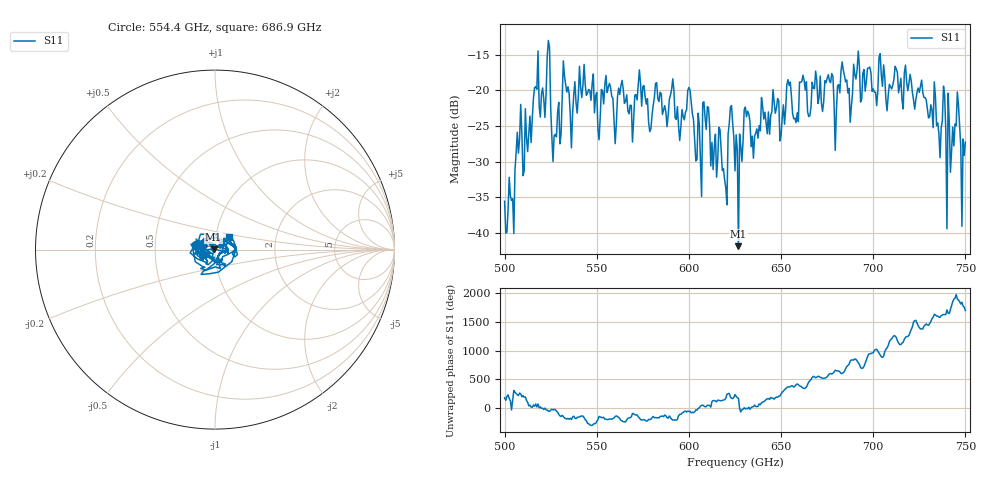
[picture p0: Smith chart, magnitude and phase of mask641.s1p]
!Created with skrf (http://scikit-rf.org).
# GHz S MA R 50.0
!freq magS11 angS11
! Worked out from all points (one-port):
!   401 points, 500 GHz to 750 GHz, reference 50 ohm
!   lowest |S11| = -41.9 dB at 626.9 GHz (marker M1), VSWR 1.02, Z = 49.2 + j0.128 ohm
!   |S11| at or under -10 dB: start of sweep to end of sweep
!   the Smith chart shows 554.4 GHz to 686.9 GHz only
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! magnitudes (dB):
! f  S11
! 500 GHz  -35.6
! 516.9 GHz  -19.4
! 520.6 GHz  -19.6
! 523.8 GHz  -13.0
! 526.9 GHz  -26.3
! 531.2 GHz  -20.9
! 562.5 GHz  -20.6
! 579.4 GHz  -25.4
! 590.6 GHz  -19.8
! 593.8 GHz  -22.3
! 600.6 GHz  -20.0
! 605.6 GHz  -24.7
! 609.4 GHz  -25.5
! 619.4 GHz  -32.6
! 622.5 GHz  -22.4
! 625 GHz  -31.3
! 626.9 GHz  -41.9
! 631.2 GHz  -23.7
! 635 GHz  -29.5
! 656.2 GHz  -23.2
! 676.9 GHz  -18.9
! 680 GHz  -23.0
! 683.8 GHz  -17.1
! 687.5 GHz  -24.5
! 690.6 GHz  -18.4
! 718.8 GHz  -20.0
! 741.2 GHz  -24.4
! 750 GHz  -27.3
